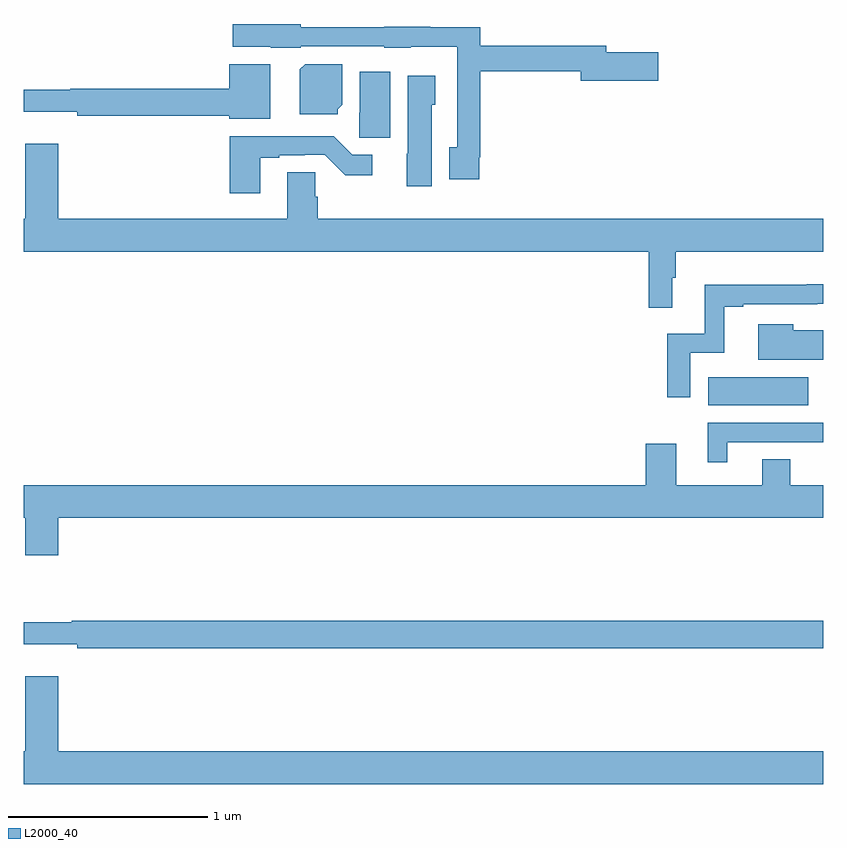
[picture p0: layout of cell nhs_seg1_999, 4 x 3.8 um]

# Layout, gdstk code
import gdstk
lib = gdstk.Library(unit=1e-6, precision=1e-09)
def R(c, l, rs):  # rectangles x0, y0, x1, y1
    for r in rs: c.add(gdstk.rectangle(r[:2], r[2:], *l))
def P(c, l, *ps):  # polygons
    for p in ps: c.add(gdstk.Polygon(p, *l))
L2000_40 = (2000, 40)

nhs_seg1_999 = lib.new_cell('nhs_seg1_999')
R(nhs_seg1_999, L2000_40, [(168.426,556.292,168.926,556.432)])
P(nhs_seg1_999, L2000_40, [(167.278,557.533),(167.285,557.533),(167.285,557.962),(167.786,557.962),(167.786,557.915),(168.175,557.915),(168.175,558.057),(167.914,558.057),(167.914,558.091),(167.285,558.091),(167.285,558.183),(167.035,558.183),(167.035,558.185),(166.803,558.185),(166.803,558.183),(166.386,558.183),(166.386,558.199),(166.045,558.199),(166.045,558.086),(166.236,558.086),(166.236,558.08),(166.386,558.08),(166.386,558.087),(166.803,558.087),(166.803,558.08),(166.935,558.08),(166.935,558.086),(167.169,558.086),(167.169,557.582),(167.129,557.582),(167.129,557.421),(167.278,557.421)],
  [(166.572,557.772),(166.594,557.794),(166.594,557.998),(166.408,557.998),(166.382,557.972),(166.382,557.747),(166.572,557.747)],
  [(166.234,557.998),(166.028,557.998),(166.028,557.876),(165.232,557.876),(165.232,557.869),(165,557.869),(165,557.759),(165.268,557.759),(165.268,557.74),(166.028,557.74),(166.028,557.726),(166.234,557.726)],
  [(166.834,557.959),(166.682,557.959),(166.682,557.754),(166.678,557.754),(166.678,557.631),(166.834,557.631)],
  [(167.041,557.796),(167.059,557.796),(167.059,557.941),(166.922,557.941),(166.922,557.55),(166.916,557.55),(166.916,557.388),(167.041,557.388)],
  [(166.183,557.529),(166.279,557.529),(166.279,557.541),(166.406,557.541),(166.406,557.544),(166.506,557.544),(166.609,557.442),(166.744,557.442),(166.744,557.544),(166.644,557.544),(166.55,557.638),(166.031,557.638),(166.031,557.352),(166.183,557.352)],
  [(168.244,556.928),(168.263,556.928),(168.263,557.06),(169,557.06),(169,557.224),(166.472,557.224),(166.472,557.334),(166.458,557.334),(166.458,557.456),(166.319,557.456),(166.319,557.224),(165.172,557.224),(165.172,557.599),(165.008,557.599),(165.008,557.224),(165,557.224),(165,557.06),(168.127,557.06),(168.127,556.779),(168.244,556.779)],
  [(168.336,556.554),(168.505,556.554),(168.505,556.785),(168.601,556.785),(168.601,556.797),(168.971,556.797),(168.971,556.799),(169,556.799),(169,556.897),(168.919,556.897),(168.919,556.894),(168.407,556.894),(168.407,556.65),(168.22,556.65),(168.22,556.332),(168.336,556.332)],
  [(169,556.666),(168.85,556.666),(168.85,556.696),(168.674,556.696),(168.674,556.52),(169,556.52)],
  [(168.52,556.107),(169,556.107),(169,556.203),(168.422,556.203),(168.422,556.005),(168.52,556.005)],
  [(165.172,555.728),(169,555.728),(169,555.892),(168.835,555.892),(168.835,556.022),(168.695,556.022),(168.695,555.892),(168.265,555.892),(168.265,556.099),(168.113,556.099),(168.113,555.892),(165,555.892),(165,555.728),(165.008,555.728),(165.008,555.54),(165.172,555.54)],
  [(169,555.212),(165.239,555.212),(165.239,555.205),(165,555.205),(165,555.095),(165.268,555.095),(165.268,555.076),(169,555.076)],
  [(169,554.56),(165.172,554.56),(165.172,554.935),(165.008,554.935),(165.008,554.56),(165,554.56),(165,554.396),(169,554.396)])

lib.write_gds('nhs_seg1_999.gds')
